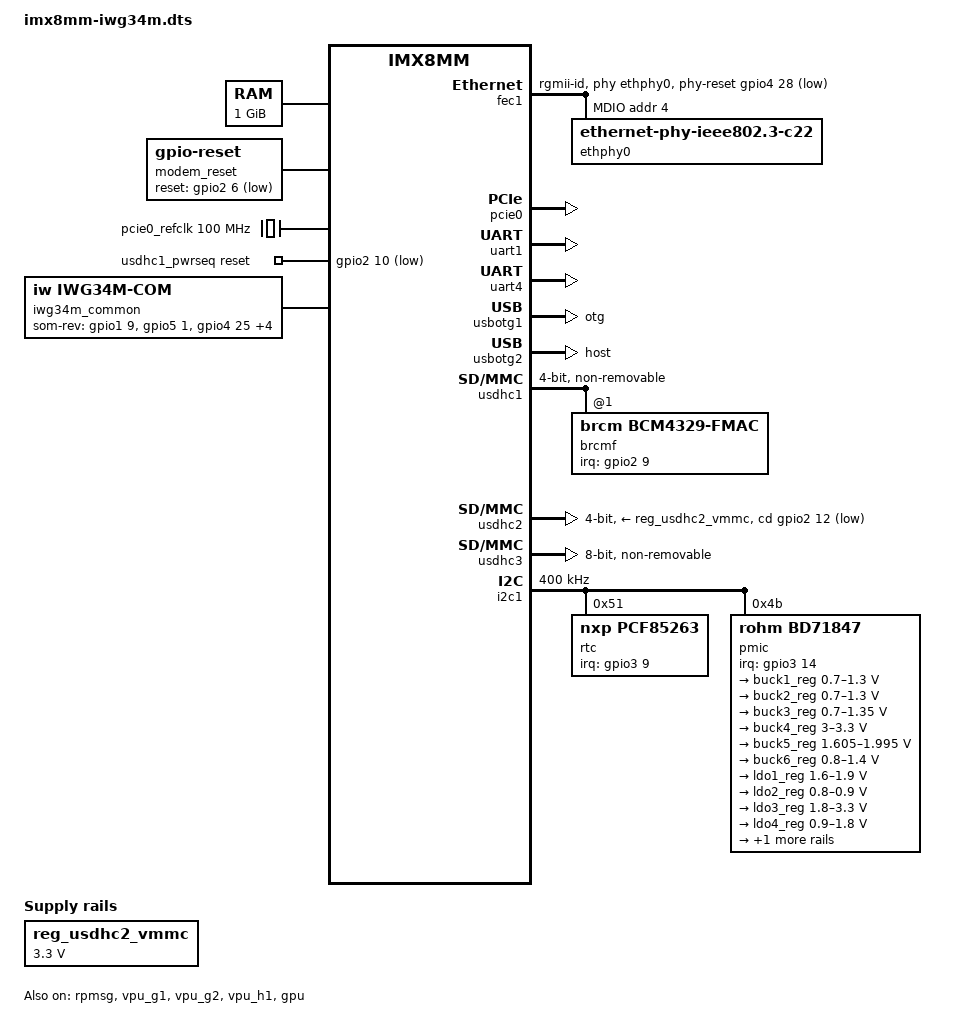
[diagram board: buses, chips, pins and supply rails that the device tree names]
// SPDX-License-Identifier: (GPL-2.0+ OR MIT)
/*
 * Copyright (C) 2020 iWave System Technologies Pvt Ltd.
 */

/dts-v1/;

#include <dt-bindings/usb/pd.h>
#include "imx8mm.dtsi"

/ {

	aliases { /* SD/MMC: eMMC/SD slot numbering fix */
		mmc0 = &usdhc3;
		mmc1 = &usdhc2;
		mmc2 = &usdhc1;
	};

	memory@40000000 { /* RAM: 1GB Memory support */
		device_type = "memory";
		reg = <0x0 0x40000000 0 0x40000000>;
	};

	reserved-memory { /* RAM: 1GB Memory support */
		#address-cells = <2>;
		#size-cells = <2>;
		ranges;

		/* global autoconfigured region for contiguous allocations */
		linux,cma {
			compatible = "shared-dma-pool";
			reusable;
			size = <0 0x14000000>;
			alloc-ranges = <0 0x40000000 0 0x30000000>;
			linux,cma-default;
		};
		
		rpmsg_reserved: rpmsg@0x78000000{
                        no-map;
                        reg = <0 0x78000000 0 0x400000>;
                };

                m4_reserved: m4@0x60000000 {
                        no-map;
                        reg = <0 0x60000000 0 0x1000000>;
                };

                vdev0vring0: vdev0vring0@78000000 {
                        compatible = "shared-dma-pool";
                        reg = <0 0x78000000 0 0x8000>;
                        no-map;
                };

                vdev0vring1: vdev0vring1@78008000 {
                        compatible = "shared-dma-pool";
                        reg = <0 0x78008000 0 0x8000>;
                        no-map;
                };

                vdevbuffer: vdevbuffer@78400000 {
                        compatible = "shared-dma-pool";
                        reg = <0 0x78400000 0 0x100000>;
                        no-map;
		};
	};

	chosen {
		stdout-path = &uart4;
	};

	modem_reset: modem-reset { /* BT: BT reset */
		compatible = "gpio-reset";
		reset-gpios = <&gpio2 6 GPIO_ACTIVE_LOW>;
		reset-delay-us = <2000>;
		reset-post-delay-ms = <40>;
		#reset-cells = <0>;
	};

	pcie0_refclk: pcie0-refclk {
		compatible = "fixed-clock";
		#clock-cells = <0>;
		clock-frequency = <100000000>;
	};

	usdhc1_pwrseq: usdhc1_pwrseq { /* WIFI: WIFI power sequence */
		compatible = "mmc-pwrseq-simple";
		pinctrl-names = "default";
		pinctrl-0 = <&pinctrl_usdhc1_gpio>;
		reset-gpios = <&gpio2 10 GPIO_ACTIVE_LOW>;
	};

	reg_usdhc2_vmmc: regulator-usdhc2 { /* USDHC2: Carrier Micro SD: Fixed Regulator */
		compatible = "regulator-fixed";
		regulator-name = "VMMC_SD2_3V3";
		regulator-min-microvolt = <3300000>;
		regulator-max-microvolt = <3300000>;
	};

	iwg34m_common { /* SoC Board Setttings : Board Configuration GPIOs */
		compatible = "iw,iwg34m-com";
		pinctrl-names = "default";
		pinctrl-0 = <&pinctrl_board_cfg>;
		som-rev-gpios = <&gpio1 9 0 &gpio5 1 0 &gpio4 25 0 &gpio4 26 0 
				&gpio4 27 0 &gpio2 19 0 &gpio2 20 0 >;
		status = "okay";
	};

	imx8mm-cm4 {
                compatible = "fsl,imx8mm-cm4";
                rsc-da = <0x78000000>;
                clocks = <&clk IMX8MM_CLK_M4_DIV>;
                mbox-names = "tx", "rx", "rxdb";
                mboxes = <&mu 0 1
                          &mu 1 1
                          &mu 3 1>;
                memory-region = <&vdev0vring0>, <&vdev0vring1>, <&vdevbuffer>;
                syscon = <&src>;
        };
};

&A53_0 {
	cpu-supply = <&buck2_reg>;
};

&clk {
        init-on-array = <IMX8MM_CLK_UART3_ROOT
        IMX8MM_CLK_AHB IMX8MM_CLK_DRAM_CORE
        IMX8MM_CLK_NOC IMX8MM_CLK_NOC_APB
        IMX8MM_CLK_USB_BUS
        IMX8MM_CLK_MAIN_AXI IMX8MM_CLK_AUDIO_AHB
        IMX8MM_CLK_DRAM_APB IMX8MM_CLK_A53_DIV
        IMX8MM_ARM_PLL_OUT IMX8MM_CLK_DISP_AXI
        IMX8MM_CLK_DISP_APB
        >;
};

&rpmsg{
        /*
         * 64K for one rpmsg instance:
         * --0x78000000~0x7800ffff: pingpong
         */
        vdev-nums = <1>;
        reg = <0x0 0x78000000 0x0 0x10000>;
        memory-region = <&vdevbuffer>;
        status = "okay";
};

&fec1 { /* FEC1: AR8031 PHY ENET */
	pinctrl-names = "default";
	pinctrl-0 = <&pinctrl_fec1>;
	phy-mode = "rgmii-id";
	phy-handle = <&ethphy0>;
	phy-reset-gpios = <&gpio4 28 GPIO_ACTIVE_LOW>;
	fsl,magic-packet;
	status = "okay";

	mdio {
		#address-cells = <1>;
		#size-cells = <0>;

		ethphy0: ethernet-phy@0 {
			compatible = "ethernet-phy-ieee802.3-c22";
			reg = <4>;
			at803x,led-act-blind-workaround;
			at803x,eee-okay;
			at803x,vddio-1p8v;
		};
	};
};

&pcie0{ /* PCIE: PCIe0 */
	pinctrl-names = "default";
	pinctrl-0 = <&pinctrl_pcie0>;
	disable-gpio = <&gpio1 11 GPIO_ACTIVE_LOW>;
	clocks = <&clk IMX8MM_CLK_PCIE1_ROOT>,
		 <&clk IMX8MM_CLK_PCIE1_AUX>,
		 <&clk IMX8MM_CLK_PCIE1_PHY>,
		 <&pcie0_refclk>;
	clock-names = "pcie", "pcie_aux", "pcie_phy", "pcie_bus";
	ext_osc = <1>;
	reserved-region = <&rpmsg_reserved>;
	status = "okay";
};

&uart1 { /* UART1: Bluetooth */
	pinctrl-names = "default";
	pinctrl-0 = <&pinctrl_uart1>;
	assigned-clocks = <&clk IMX8MM_CLK_UART1>;
	assigned-clock-parents = <&clk IMX8MM_SYS_PLL1_80M>;
	fsl,uart-has-rtscts;
	resets = <&modem_reset>;
	status = "okay";
};

&uart4 { /* UART4: Debug UART */
	pinctrl-names = "default";
	pinctrl-0 = <&pinctrl_uart4>;
	status = "okay";
};

&usbotg1 { /* USB1: USB OTG */
        pinctrl-names = "default";
        pinctrl-0 = <&pinctrl_usbotg>;
	otg-pwr-gpio = <&gpio1 12 GPIO_ACTIVE_LOW>;
	dr_mode = "otg";
	status = "okay";
};

&usbotg2 { /* USB2: USB Host (2 ports via HUB) */
        pinctrl-names = "default";
        pinctrl-0 = <&pinctrl_usb>;
	dr_mode = "host";
	status = "okay";
};

&usdhc1 { /* USDHC1: WiFi */
	#address-cells = <1>;
	#size-cells = <0>;
	pinctrl-names = "default", "state_100mhz", "state_200mhz";
	pinctrl-0 = <&pinctrl_usdhc1>, <&pinctrl_wlan>;
	pinctrl-1 = <&pinctrl_usdhc1_100mhz>, <&pinctrl_wlan>;
	pinctrl-2 = <&pinctrl_usdhc1_200mhz>, <&pinctrl_wlan>;
	mmc-pwrseq = <&usdhc1_pwrseq>;
	bus-width = <4>;
	cap-power-off-card;
	non-removable;
	wifi-host;
	status = "okay";

	brcmf: bcrmf@1 {
		reg = <1>;
		compatible = "brcm,bcm4329-fmac";
		interrupt-parent = <&gpio2>;
		interrupts = <9 IRQ_TYPE_LEVEL_LOW>;
		interrupt-names = "host-wake";
		status = "okay";
	};
};

&usdhc2 {  /*USDHC2: Carrier Micro SD */
	pinctrl-names = "default", "state_100mhz", "state_200mhz";
	pinctrl-0 = <&pinctrl_usdhc2>, <&pinctrl_usdhc2_gpio>;
	pinctrl-1 = <&pinctrl_usdhc2_100mhz>, <&pinctrl_usdhc2_gpio>;
	pinctrl-2 = <&pinctrl_usdhc2_200mhz>, <&pinctrl_usdhc2_gpio>;
	cd-gpios = <&gpio2 12 GPIO_ACTIVE_LOW>;
	bus-width = <4>;
	vmmc-supply = <&reg_usdhc2_vmmc>;
	no-1-8-v;
	status = "okay";
};

&usdhc3 {  /*USDHC3: EMMC */
	pinctrl-names = "default", "state_100mhz", "state_200mhz";
	pinctrl-0 = <&pinctrl_usdhc3>;
	pinctrl-1 = <&pinctrl_usdhc3_100mhz>;
	pinctrl-2 = <&pinctrl_usdhc3_200mhz>;
	bus-width = <8>;
	non-removable;
	status = "okay";
};

&i2c1 { /* I2C: I2C1 Bus */
	clock-frequency = <400000>;
	pinctrl-names = "default";
	pinctrl-0 = <&pinctrl_i2c1>;
	status = "okay";
	
	rtc: rtc@51 { /* RTC: PCF85263 RTC */
		compatible = "nxp,pcf85263";
		reg = <0x51>;
		pinctrl-names = "default";
		pinctrl-0 = <&pinctrl_rtc>;
		interrupt-parent = <&gpio3>;
		interrupts = <9 IRQ_TYPE_LEVEL_LOW>;
		interrupt-names = "INTA";
		status = "okay";
	};

	pmic: pmic@4b { /* PMIC: PMIC BD71847MWV */
		compatible = "rohm,bd71847";
		reg = <0x4b>;
		pinctrl-names = "default";
		pinctrl-0 = <&pinctrl_pmic>;
		interrupt-parent = <&gpio3>;
		interrupts = <14 GPIO_ACTIVE_LOW>;
		interrupt-names = "irq";
		#clock-cells = <0>;
		clocks = <&osc 0>;
		clock-output-names = "bd71837-32k-out";
		rohm,reset-snvs-powered;

		regulators {
			buck1_reg: BUCK1 {
				regulator-name = "BUCK1";
				regulator-min-microvolt = <700000>;
				regulator-max-microvolt = <1300000>;
				regulator-boot-on;
				regulator-always-on;
				regulator-ramp-delay = <1250>;
			};

			buck2_reg: BUCK2 {
				regulator-name = "BUCK2";
				regulator-min-microvolt = <700000>;
				regulator-max-microvolt = <1300000>;
				regulator-boot-on;
				regulator-always-on;
				regulator-ramp-delay = <1250>;
				rohm,dvs-run-voltage = <1000000>;
				rohm,dvs-idle-voltage = <900000>;
			};

			buck3_reg: BUCK3 {
				// BUCK5 in datasheet
				regulator-name = "BUCK3";
				regulator-min-microvolt = <700000>;
				regulator-max-microvolt = <1350000>;
				regulator-boot-on;
				regulator-always-on;
			};

			buck4_reg: BUCK4 {
				// BUCK6 in datasheet
				regulator-name = "BUCK4";
				regulator-min-microvolt = <3000000>;
				regulator-max-microvolt = <3300000>;
				regulator-boot-on;
				regulator-always-on;
			};

			buck5_reg: BUCK5 {
				// BUCK7 in datasheet
				regulator-name = "BUCK5";
				regulator-min-microvolt = <1605000>;
				regulator-max-microvolt = <1995000>;
				regulator-boot-on;
				regulator-always-on;
			};

			buck6_reg: BUCK6 {
				// BUCK8 in datasheet
				regulator-name = "BUCK6";
				regulator-min-microvolt = <800000>;
				regulator-max-microvolt = <1400000>;
				regulator-boot-on;
				regulator-always-on;
			};

			ldo1_reg: LDO1 {
				regulator-name = "LDO1";
				regulator-min-microvolt = <1600000>;
				regulator-max-microvolt = <1900000>;
				regulator-boot-on;
				regulator-always-on;
			};

			ldo2_reg: LDO2 {
				regulator-name = "LDO2";
				regulator-min-microvolt = <800000>;
				regulator-max-microvolt = <900000>;
				regulator-boot-on;
				regulator-always-on;
			};

			ldo3_reg: LDO3 {
				regulator-name = "LDO3";
				regulator-min-microvolt = <1800000>;
				regulator-max-microvolt = <3300000>;
				regulator-boot-on;
				regulator-always-on;
			};

			ldo4_reg: LDO4 {
				regulator-name = "LDO4";
				regulator-min-microvolt = <900000>;
				regulator-max-microvolt = <1800000>;
				regulator-boot-on;
				regulator-always-on;
			};

			ldo6_reg: LDO6 {
				regulator-name = "LDO6";
				regulator-min-microvolt = <900000>;
				regulator-max-microvolt = <1800000>;
				regulator-boot-on;
				regulator-always-on;
			};
		};
	};
};

&iomuxc {
	pinctrl-names = "default";

	imx8mm-iwg34m {
	
		pinctrl_fec1: fec1grp { /* Ethernet: IOMUX Pin Configuration */
			fsl,pins = <
				MX8MM_IOMUXC_ENET_MDC_ENET1_MDC			0x3
				MX8MM_IOMUXC_ENET_MDIO_ENET1_MDIO		0x3
				MX8MM_IOMUXC_ENET_TD3_ENET1_RGMII_TD3		0x1f
				MX8MM_IOMUXC_ENET_TD2_ENET1_RGMII_TD2		0x1f
				MX8MM_IOMUXC_ENET_TD1_ENET1_RGMII_TD1		0x1f
				MX8MM_IOMUXC_ENET_TD0_ENET1_RGMII_TD0		0x1f
				MX8MM_IOMUXC_ENET_RD3_ENET1_RGMII_RD3		0x91
				MX8MM_IOMUXC_ENET_RD2_ENET1_RGMII_RD2		0x91
				MX8MM_IOMUXC_ENET_RD1_ENET1_RGMII_RD1		0x91
				MX8MM_IOMUXC_ENET_RD0_ENET1_RGMII_RD0		0x91
				MX8MM_IOMUXC_ENET_TXC_ENET1_RGMII_TXC		0x1f
				MX8MM_IOMUXC_ENET_RXC_ENET1_RGMII_RXC		0x91
				MX8MM_IOMUXC_ENET_RX_CTL_ENET1_RGMII_RX_CTL	0x91
				MX8MM_IOMUXC_ENET_TX_CTL_ENET1_RGMII_TX_CTL	0x1f
				MX8MM_IOMUXC_SAI3_RXFS_GPIO4_IO28		0x19 /* Ethernet Reset GPIO */
			>;
		};

		pinctrl_i2c1: i2c1grp { /* I2C1: IOMUX Pin Configuration */
			fsl,pins = <
				MX8MM_IOMUXC_I2C1_SCL_I2C1_SCL			0x400001c3
				MX8MM_IOMUXC_I2C1_SDA_I2C1_SDA			0x400001c3
			>;
		};

		pinctrl_pcie0: pcie0grp { /* PCIe1: IOMUX Pin Configuration */
			fsl,pins = <
				MX8MM_IOMUXC_I2C4_SCL_PCIE1_CLKREQ_B		0x61 /* open drain, pull up */
				MX8MM_IOMUXC_GPIO1_IO11_GPIO1_IO11		0x41 /* Disable GPIO */
			>;
		};

		pinctrl_pmic: pmicirq { /* PMIC: IOMUX Pin Configuration */
			fsl,pins = <
				MX8MM_IOMUXC_NAND_DQS_GPIO3_IO14		0x41 /* PMIC Interrupt GPIO */
			>;
		};

		pinctrl_rtc: rtcirq { /* RTC: IOMUX Pin Configuration */
			fsl,pins = <
				MX8MM_IOMUXC_NAND_DATA03_GPIO3_IO9		0x41 /* RTC Interrupt GPIO */
			>;
		};

		pinctrl_uart1: uart1grp { /* UART1: Bluetooth: IOMUX Pin Configuration */
			fsl,pins = <
				MX8MM_IOMUXC_SAI2_RXFS_UART1_TX			0x140
				MX8MM_IOMUXC_SAI2_RXC_UART1_RX			0x140
				MX8MM_IOMUXC_SAI2_RXD0_UART1_RTS_B		0x140
				MX8MM_IOMUXC_SAI2_TXFS_UART1_CTS_B		0x140
				MX8MM_IOMUXC_SD1_DATA4_GPIO2_IO6		0x19 /* Bluetooth Reset GPIO */
			>;
		};

		pinctrl_uart4: uart4grp { /* UART4: Debug UART: IOMUX Pin Configuration */
			fsl,pins = <
				MX8MM_IOMUXC_UART4_RXD_UART4_DCE_RX		0x140
				MX8MM_IOMUXC_UART4_TXD_UART4_DCE_TX		0x140
			>;
		};

		pinctrl_usdhc1: usdhc1grp { /* USDHC1: SOM Micro SD/WiFi: IOMUX Pin Configuration */
			fsl,pins = <
				MX8MM_IOMUXC_SD1_CLK_USDHC1_CLK         	0x190
				MX8MM_IOMUXC_SD1_CMD_USDHC1_CMD         	0x1d0
				MX8MM_IOMUXC_SD1_DATA0_USDHC1_DATA0     	0x1d0
				MX8MM_IOMUXC_SD1_DATA1_USDHC1_DATA1     	0x1d0
				MX8MM_IOMUXC_SD1_DATA2_USDHC1_DATA2     	0x1d0
				MX8MM_IOMUXC_SD1_DATA3_USDHC1_DATA3     	0x1d0
				MX8MM_IOMUXC_SD1_STROBE_GPIO2_IO11      	0x159
				MX8MM_IOMUXC_GPIO1_IO03_GPIO1_IO3       	0x016
			>;
		};

		pinctrl_usdhc1_100mhz: usdhc1grp100mhz {
			fsl,pins = <
				MX8MM_IOMUXC_SD1_CLK_USDHC1_CLK         	0x194
				MX8MM_IOMUXC_SD1_CMD_USDHC1_CMD         	0x1d4
				MX8MM_IOMUXC_SD1_DATA0_USDHC1_DATA0     	0x1d4
				MX8MM_IOMUXC_SD1_DATA1_USDHC1_DATA1     	0x1d4
				MX8MM_IOMUXC_SD1_DATA2_USDHC1_DATA2     	0x1d4
				MX8MM_IOMUXC_SD1_DATA3_USDHC1_DATA3     	0x1d4
				MX8MM_IOMUXC_SD1_STROBE_GPIO2_IO11      	0x159
				MX8MM_IOMUXC_GPIO1_IO03_GPIO1_IO3       	0x016
			>;
		};

		pinctrl_usdhc1_200mhz: usdhc1grp200mhz {
			fsl,pins = <
				MX8MM_IOMUXC_SD1_CLK_USDHC1_CLK			0x196
				MX8MM_IOMUXC_SD1_CMD_USDHC1_CMD			0x1d6
				MX8MM_IOMUXC_SD1_DATA0_USDHC1_DATA0		0x1d6
				MX8MM_IOMUXC_SD1_DATA1_USDHC1_DATA1		0x1d6
				MX8MM_IOMUXC_SD1_DATA2_USDHC1_DATA2		0x1d6
				MX8MM_IOMUXC_SD1_DATA3_USDHC1_DATA3		0x1d6
				MX8MM_IOMUXC_SD1_STROBE_GPIO2_IO11		0x159
				MX8MM_IOMUXC_GPIO1_IO03_GPIO1_IO3		0x016
			>;
		};
	
		pinctrl_usdhc1_gpio: usdhc1grpgpio { /* USDHC1: WiFi: Reset GPIO IOMUX Pin Configuration */
			fsl,pins = <
				MX8MM_IOMUXC_SD1_RESET_B_GPIO2_IO10		0x41 /* WIFI Reset GPIO */
			>;
		};

		pinctrl_usdhc2: usdhc2grp { /* USDHC2: Carrier Micro SD: IOMUX Pin Configuration */
			fsl,pins = <
				MX8MM_IOMUXC_SD2_CLK_USDHC2_CLK			0x190
				MX8MM_IOMUXC_SD2_CMD_USDHC2_CMD			0x1d0
				MX8MM_IOMUXC_SD2_DATA0_USDHC2_DATA0		0x1d0
				MX8MM_IOMUXC_SD2_DATA1_USDHC2_DATA1		0x1d0
				MX8MM_IOMUXC_SD2_DATA2_USDHC2_DATA2		0x1d0
				MX8MM_IOMUXC_SD2_DATA3_USDHC2_DATA3		0x1d0
				MX8MM_IOMUXC_GPIO1_IO04_USDHC2_VSELECT  	0x1d0
			>;
		};

		pinctrl_usdhc2_100mhz: usdhc2grp100mhz {
			fsl,pins = <
				MX8MM_IOMUXC_SD2_CLK_USDHC2_CLK			0x194
				MX8MM_IOMUXC_SD2_CMD_USDHC2_CMD			0x1d4
				MX8MM_IOMUXC_SD2_DATA0_USDHC2_DATA0		0x1d4
				MX8MM_IOMUXC_SD2_DATA1_USDHC2_DATA1		0x1d4
				MX8MM_IOMUXC_SD2_DATA2_USDHC2_DATA2		0x1d4
				MX8MM_IOMUXC_SD2_DATA3_USDHC2_DATA3		0x1d4
				MX8MM_IOMUXC_GPIO1_IO04_USDHC2_VSELECT  	0x1d0
			>;
		};

		pinctrl_usdhc2_200mhz: usdhc2grp200mhz {
			fsl,pins = <
				MX8MM_IOMUXC_SD2_CLK_USDHC2_CLK			0x196
				MX8MM_IOMUXC_SD2_CMD_USDHC2_CMD			0x1d6
				MX8MM_IOMUXC_SD2_DATA0_USDHC2_DATA0		0x1d6
				MX8MM_IOMUXC_SD2_DATA1_USDHC2_DATA1		0x1d6
				MX8MM_IOMUXC_SD2_DATA2_USDHC2_DATA2		0x1d6
				MX8MM_IOMUXC_SD2_DATA3_USDHC2_DATA3		0x1d6
				MX8MM_IOMUXC_GPIO1_IO04_USDHC2_VSELECT  	0x1d0
			>;
		};

		pinctrl_usdhc2_gpio: usdhc2grpgpio { /* USDHC2: Carrier Micro SD: Card Detect GPIO IOMUX Pin Configuration */
			fsl,pins = <
				MX8MM_IOMUXC_SD2_CD_B_GPIO2_IO12		0x1c4 /* SD2 Card Detect GPIO */
			>;
		};

		pinctrl_usdhc3: usdhc3grp { /* USDHC3: EMMC: IOMUX Pin Configuration*/
			fsl,pins = <
				MX8MM_IOMUXC_NAND_WE_B_USDHC3_CLK		0x190
				MX8MM_IOMUXC_NAND_WP_B_USDHC3_CMD		0x1d0
				MX8MM_IOMUXC_NAND_DATA04_USDHC3_DATA0		0x1d0
				MX8MM_IOMUXC_NAND_DATA05_USDHC3_DATA1		0x1d0
				MX8MM_IOMUXC_NAND_DATA06_USDHC3_DATA2		0x1d0
				MX8MM_IOMUXC_NAND_DATA07_USDHC3_DATA3		0x1d0
				MX8MM_IOMUXC_NAND_RE_B_USDHC3_DATA4		0x1d0
				MX8MM_IOMUXC_NAND_CE2_B_USDHC3_DATA5		0x1d0
				MX8MM_IOMUXC_NAND_CE3_B_USDHC3_DATA6		0x1d0
				MX8MM_IOMUXC_NAND_CLE_USDHC3_DATA7		0x1d0
				MX8MM_IOMUXC_NAND_READY_B_USDHC3_RESET_B	0x1d0	
				MX8MM_IOMUXC_NAND_CE1_B_USDHC3_STROBE		0x190
			>;
		};

		pinctrl_usdhc3_100mhz: usdhc3grp100mhz {
			fsl,pins = <
				MX8MM_IOMUXC_NAND_WE_B_USDHC3_CLK		0x194
				MX8MM_IOMUXC_NAND_WP_B_USDHC3_CMD		0x1d4
				MX8MM_IOMUXC_NAND_DATA04_USDHC3_DATA0		0x1d4
				MX8MM_IOMUXC_NAND_DATA05_USDHC3_DATA1		0x1d4
				MX8MM_IOMUXC_NAND_DATA06_USDHC3_DATA2		0x1d4
				MX8MM_IOMUXC_NAND_DATA07_USDHC3_DATA3		0x1d4
				MX8MM_IOMUXC_NAND_RE_B_USDHC3_DATA4		0x1d4
				MX8MM_IOMUXC_NAND_CE2_B_USDHC3_DATA5		0x1d4
				MX8MM_IOMUXC_NAND_CE3_B_USDHC3_DATA6		0x1d4
				MX8MM_IOMUXC_NAND_CLE_USDHC3_DATA7		0x1d4
				MX8MM_IOMUXC_NAND_READY_B_USDHC3_RESET_B        0x1d4
				MX8MM_IOMUXC_NAND_CE1_B_USDHC3_STROBE		0x194
			>;
		};

		pinctrl_usdhc3_200mhz: usdhc3grp200mhz {
			fsl,pins = <
				MX8MM_IOMUXC_NAND_WE_B_USDHC3_CLK		0x196
				MX8MM_IOMUXC_NAND_WP_B_USDHC3_CMD		0x1d6
				MX8MM_IOMUXC_NAND_DATA04_USDHC3_DATA0		0x1d6
				MX8MM_IOMUXC_NAND_DATA05_USDHC3_DATA1		0x1d6
				MX8MM_IOMUXC_NAND_DATA06_USDHC3_DATA2		0x1d6
				MX8MM_IOMUXC_NAND_DATA07_USDHC3_DATA3		0x1d6
				MX8MM_IOMUXC_NAND_RE_B_USDHC3_DATA4		0x1d6
				MX8MM_IOMUXC_NAND_CE2_B_USDHC3_DATA5		0x1d6
				MX8MM_IOMUXC_NAND_CE3_B_USDHC3_DATA6		0x1d6
				MX8MM_IOMUXC_NAND_CLE_USDHC3_DATA7		0x1d6
				MX8MM_IOMUXC_NAND_READY_B_USDHC3_RESET_B        0x1d6
				MX8MM_IOMUXC_NAND_CE1_B_USDHC3_STROBE		0x196
			>;
		};

		pinctrl_board_cfg: brd_cfg { /* SoC Board Settings: IOMUX Pin Configuration */
			fsl,pins = <
				MX8MM_IOMUXC_GPIO1_IO09_GPIO1_IO9		0x1d0   
				MX8MM_IOMUXC_SAI3_TXD_GPIO5_IO1			0x1d5
				MX8MM_IOMUXC_SAI2_TXC_GPIO4_IO25		0x1d5
				MX8MM_IOMUXC_SAI2_TXD0_GPIO4_IO26		0x1d5
				MX8MM_IOMUXC_SAI2_MCLK_GPIO4_IO27		0x1d5   
				MX8MM_IOMUXC_SD2_RESET_B_GPIO2_IO19		0x1d5
				MX8MM_IOMUXC_SD2_WP_GPIO2_IO20			0x1d5
			>;
		};

		pinctrl_usb: usb1grp { /* USB2: USB Hub IOMUX Pin Configuration */
                        fsl,pins = <
                                MX8MM_IOMUXC_GPIO1_IO14_GPIO1_IO14		0x41
                                MX8MM_IOMUXC_GPIO1_IO15_GPIO1_IO15		0x41
                        >;
                };

                pinctrl_usbotg: usb2grp { /* USB1: USB OTG IOMUX Pin COnfiguration */
                        fsl,pins = <
                                MX8MM_IOMUXC_GPIO1_IO13_GPIO1_IO13      	0x41
                                MX8MM_IOMUXC_GPIO1_IO12_GPIO1_IO12     		0x41
                        >;
                };
	};
};

&vpu_g1 {
	status = "okay";
};

&vpu_g2 {
	status = "okay";
};

&vpu_h1 {
	status = "okay";
};

&gpu { /* GPU */
	reg = <0x0 0x38000000 0x0 0x8000>, <0x0 0x38008000 0x0 0x8000>,
	      <0x0 0x40000000 0x0 0x40000000>, <0x0 0x0 0x0 0x8000000>;
	reg-names = "iobase_3d", "iobase_2d",
		    "phys_baseaddr", "contiguous_mem";
	status = "okay";
};
